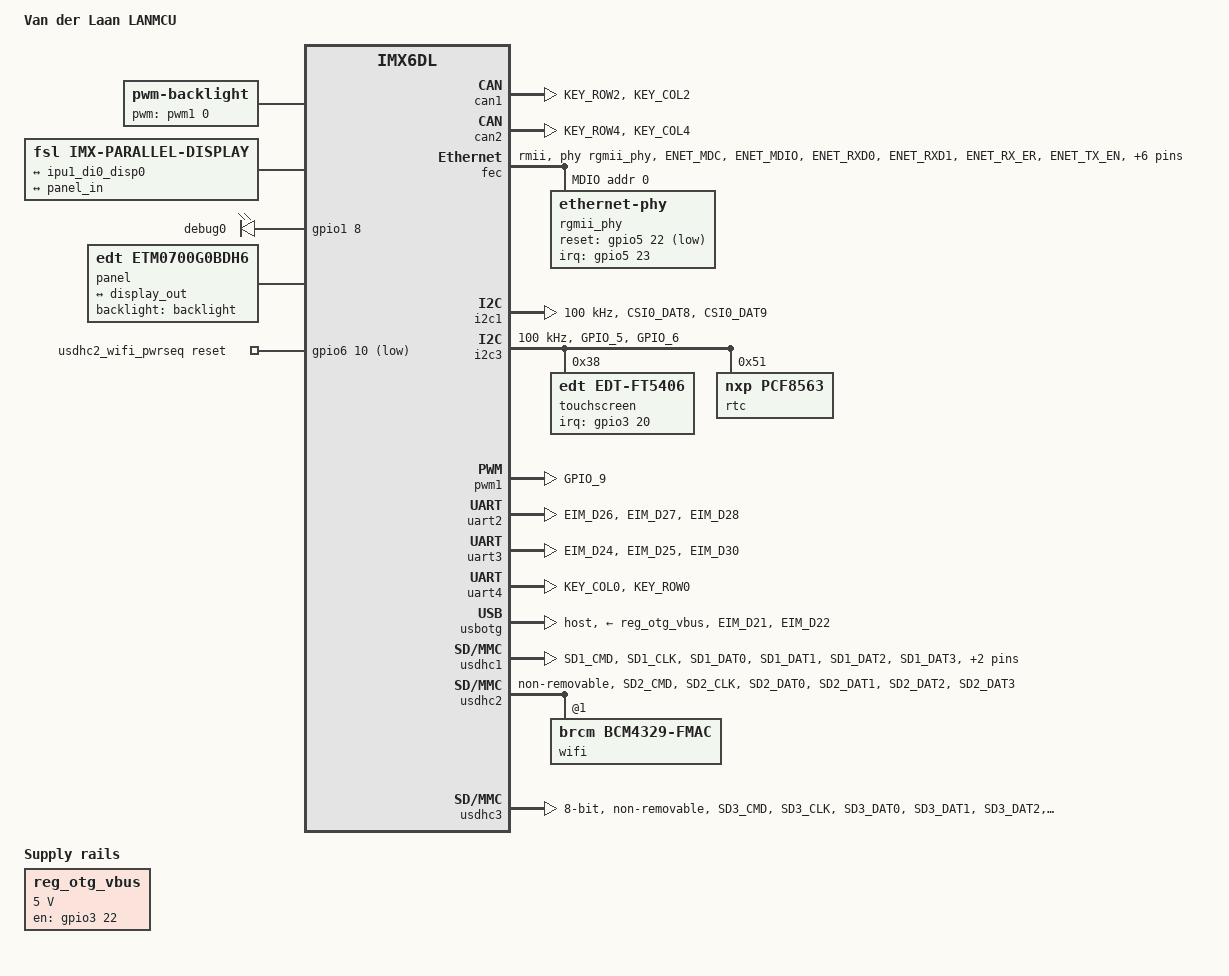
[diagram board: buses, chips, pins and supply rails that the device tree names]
// SPDX-License-Identifier: GPL-2.0-or-later
/*
 * Copyright (c) 2019 Protonic Holland
 * Copyright (c) 2020 Oleksij Rempel <kernel@pengutronix.de>, Pengutronix
 */

/dts-v1/;
#include <dt-bindings/gpio/gpio.h>
#include <dt-bindings/leds/common.h>
#include "imx6dl.dtsi"

/ {
	model = "Van der Laan LANMCU";
	compatible = "vdl,lanmcu", "fsl,imx6dl";

	chosen {
		stdout-path = &uart4;
	};

	clock_ksz8081: clock-ksz8081 {
		compatible = "fixed-clock";
		#clock-cells = <0>;
		clock-frequency = <50000000>;
		clock-output-names = "enet_ref_pad";
	};

	backlight: backlight {
		compatible = "pwm-backlight";
		pwms = <&pwm1 0 5000000 0>;
		brightness-levels = <0 1000>;
		num-interpolated-steps = <20>;
		default-brightness-level = <19>;
	};

	display {
		compatible = "fsl,imx-parallel-display";
		pinctrl-0 = <&pinctrl_ipu1_disp>;
		pinctrl-names = "default";
		#address-cells = <1>;
		#size-cells = <0>;

		port@0 {
			reg = <0>;

			display_in: endpoint {
				remote-endpoint = <&ipu1_di0_disp0>;
			};
		};

		port@1 {
			reg = <1>;

			display_out: endpoint {
				remote-endpoint = <&panel_in>;
			};
		};
	};

	leds {
		compatible = "gpio-leds";
		pinctrl-names = "default";
		pinctrl-0 = <&pinctrl_leds>;

		led-0 {
			label = "debug0";
			function = LED_FUNCTION_STATUS;
			gpios = <&gpio1 8 GPIO_ACTIVE_HIGH>;
			linux,default-trigger = "heartbeat";
		};
	};

	panel {
		compatible = "edt,etm0700g0bdh6";
		backlight = <&backlight>;

		port {
			panel_in: endpoint {
				remote-endpoint = <&display_out>;
			};
		};
	};

	reg_otg_vbus: regulator-otg-vbus {
		compatible = "regulator-fixed";
		regulator-name = "otg-vbus";
		regulator-min-microvolt = <5000000>;
		regulator-max-microvolt = <5000000>;
		gpio = <&gpio3 22 GPIO_ACTIVE_HIGH>;
		enable-active-high;
	};

	usdhc2_wifi_pwrseq: usdhc2-wifi-pwrseq {
		compatible = "mmc-pwrseq-simple";
		pinctrl-names = "default";
		pinctrl-0 = <&pinctrl_wifi_npd>;
		reset-gpios = <&gpio6 10 GPIO_ACTIVE_LOW>;
	};

};

&can1 {
	pinctrl-names = "default";
	pinctrl-0 = <&pinctrl_can1>;
	status = "okay";
};

&can2 {
	pinctrl-names = "default";
	pinctrl-0 = <&pinctrl_can2>;
	status = "okay";
};

&clks {
	clocks = <&clock_ksz8081>;
	clock-names = "enet_ref_pad";
	assigned-clocks = <&clks IMX6QDL_CLK_ENET_REF_SEL>;
	assigned-clock-parents = <&clock_ksz8081>;
};

&fec {
	pinctrl-names = "default";
	pinctrl-0 = <&pinctrl_enet>;
	phy-mode = "rmii";
	phy-handle = <&rgmii_phy>;
	status = "okay";

	mdio {
		#address-cells = <1>;
		#size-cells = <0>;

		/* Microchip KSZ8081RNA PHY */
		rgmii_phy: ethernet-phy@0 {
			reg = <0>;
			interrupts-extended = <&gpio5 23 IRQ_TYPE_LEVEL_LOW>;
			reset-gpios = <&gpio5 22 GPIO_ACTIVE_LOW>;
			reset-assert-us = <10000>;
			reset-deassert-us = <300>;
		};
	};
};

&gpio1 {
	gpio-line-names =
		"", "SD1_CD", "", "", "", "", "", "",
		"DEBUG_0", "BL_PWM", "", "", "", "", "", "",
		"", "", "", "", "", "", "", "ENET_LED_GREEN",
		"", "", "", "", "", "", "", "";
};

&gpio3 {
	gpio-line-names =
		"", "", "", "", "", "", "", "",
		"", "", "", "", "", "", "", "",
		"", "", "", "", "TS_INT", "USB_OTG1_OC", "USB_OTG1_PWR", "",
		"", "", "", "", "UART2_CTS", "", "UART3_CTS", "";
};

&gpio5 {
	gpio-line-names =
		"", "", "", "", "", "", "", "",
		"", "", "", "", "", "", "", "",
		"", "", "", "", "", "", "ENET_RST", "ENET_INT",
		"", "", "I2C1_SDA", "I2C1_SCL", "", "", "", "";
};

&gpio6 {
	gpio-line-names =
		"", "", "", "", "", "", "", "",
		"", "", "WLAN_REG_ON", "", "", "", "", "",
		"", "", "", "", "", "", "", "",
		"", "", "", "", "", "", "", "";
};

&gpio7 {
	gpio-line-names =
		"", "", "", "", "", "", "", "",
		"EMMC_RST", "", "", "", "", "", "", "",
		"", "", "", "", "", "", "", "",
		"", "", "", "", "", "", "", "";
};

&i2c1 {
	clock-frequency = <100000>;
	pinctrl-names = "default";
	pinctrl-0 = <&pinctrl_i2c1>;
	status = "okay";

	/* additional i2c devices are added automatically by the boot loader */
};

&i2c3 {
	clock-frequency = <100000>;
	pinctrl-names = "default";
	pinctrl-0 = <&pinctrl_i2c3>;
	status = "okay";

	touchscreen@38 {
		compatible = "edt,edt-ft5406";
		reg = <0x38>;
		pinctrl-names = "default";
		pinctrl-0 = <&pinctrl_ts_edt>;
		interrupts-extended = <&gpio3 20 IRQ_TYPE_EDGE_FALLING>;

		touchscreen-size-x = <1792>;
		touchscreen-size-y = <1024>;

		touchscreen-fuzz-x = <0>;
		touchscreen-fuzz-y = <0>;

		/* Touch screen calibration */
		threshold = <50>;
		gain = <5>;
		offset = <10>;
	};

	rtc@51 {
		compatible = "nxp,pcf8563";
		reg = <0x51>;
	};
};

&ipu1_di0_disp0 {
	remote-endpoint = <&display_in>;
};

&pwm1 {
	pinctrl-names = "default";
	pinctrl-0 = <&pinctrl_pwm1>;
	status = "okay";
};

&uart2 {
	pinctrl-names = "default";
	pinctrl-0 = <&pinctrl_uart2>;
	linux,rs485-enabled-at-boot-time;
	uart-has-rtscts;
	status = "okay";
};

&uart3 {
	pinctrl-names = "default";
	pinctrl-0 = <&pinctrl_uart3>;
	linux,rs485-enabled-at-boot-time;
	uart-has-rtscts;
	status = "okay";
};

&uart4 {
	pinctrl-names = "default";
	pinctrl-0 = <&pinctrl_uart4>;
	status = "okay";
};

&usbotg {
	vbus-supply = <&reg_otg_vbus>;
	pinctrl-names = "default";
	pinctrl-0 = <&pinctrl_usbotg>;
	phy_type = "utmi";
	dr_mode = "host";
	status = "okay";
};

&usdhc1 {
	pinctrl-names = "default";
	pinctrl-0 = <&pinctrl_usdhc1>;
	cd-gpios = <&gpio1 1 GPIO_ACTIVE_LOW>;
	no-1-8-v;
	disable-wp;
	cap-sd-highspeed;
	no-mmc;
	no-sdio;
	status = "okay";
};

&usdhc2 {
	pinctrl-names = "default";
	pinctrl-0 = <&pinctrl_usdhc2>;
	no-1-8-v;
	non-removable;
	mmc-pwrseq = <&usdhc2_wifi_pwrseq>;
	#address-cells = <1>;
	#size-cells = <0>;
	status = "okay";

	wifi@1 {
		reg = <1>;
		compatible = "brcm,bcm4329-fmac";
	};
};

&usdhc3 {
	pinctrl-names = "default";
	pinctrl-0 = <&pinctrl_usdhc3>;
	bus-width = <8>;
	no-1-8-v;
	non-removable;
	no-sd;
	no-sdio;
	status = "okay";
};

&iomuxc {
	pinctrl_can1: can1grp {
		fsl,pins = <
			MX6QDL_PAD_KEY_ROW2__FLEXCAN1_RX		0x1b000
			MX6QDL_PAD_KEY_COL2__FLEXCAN1_TX		0x3008
		>;
	};

	pinctrl_can2: can2grp {
		fsl,pins = <
			MX6QDL_PAD_KEY_ROW4__FLEXCAN2_RX		0x1b000
			MX6QDL_PAD_KEY_COL4__FLEXCAN2_TX		0x3008
		>;
	};

	pinctrl_enet: enetgrp {
		fsl,pins = <
			/* MX6QDL_ENET_PINGRP4 */
			MX6QDL_PAD_ENET_MDC__ENET_MDC			0x1b0b0
			MX6QDL_PAD_ENET_MDIO__ENET_MDIO			0x1b0b0
			MX6QDL_PAD_ENET_RXD0__ENET_RX_DATA0		0x1b0b0
			MX6QDL_PAD_ENET_RXD1__ENET_RX_DATA1		0x1b0b0
			MX6QDL_PAD_ENET_RX_ER__ENET_RX_ER		0x1b0b0
			MX6QDL_PAD_ENET_TX_EN__ENET_TX_EN		0x1b0b0
			MX6QDL_PAD_ENET_TXD0__ENET_TX_DATA0		0x1b0b0
			MX6QDL_PAD_ENET_TXD1__ENET_TX_DATA1		0x1b0b0
			MX6QDL_PAD_ENET_CRS_DV__ENET_RX_EN		0x1b0b0

			MX6QDL_PAD_GPIO_16__ENET_REF_CLK		0x1b0b0
			/* Phy reset */
			MX6QDL_PAD_CSI0_DAT4__GPIO5_IO22		0x1b0b0
			/* nINTRP */
			MX6QDL_PAD_CSI0_DAT5__GPIO5_IO23		0x1b0b0
		>;
	};

	pinctrl_i2c1: i2c1grp {
		fsl,pins = <
			MX6QDL_PAD_CSI0_DAT8__I2C1_SDA			0x4001f8b1
			MX6QDL_PAD_CSI0_DAT9__I2C1_SCL			0x4001f8b1
		>;
	};

	pinctrl_i2c3: i2c3grp {
		fsl,pins = <
			MX6QDL_PAD_GPIO_5__I2C3_SCL			0x4001b8b1
			MX6QDL_PAD_GPIO_6__I2C3_SDA			0x4001b8b1
		>;
	};

	pinctrl_ipu1_disp: ipudisp1grp {
		fsl,pins = <
			/* DSE 0x30 => 25 Ohm, 0x20 => 37 Ohm, 0x10 => 75 Ohm */
			MX6QDL_PAD_DI0_DISP_CLK__IPU1_DI0_DISP_CLK	0x30
			MX6QDL_PAD_DI0_PIN2__IPU1_DI0_PIN02		0x30
			MX6QDL_PAD_DI0_PIN3__IPU1_DI0_PIN03		0x30
			MX6QDL_PAD_DI0_PIN15__IPU1_DI0_PIN15		0x30
			MX6QDL_PAD_DISP0_DAT0__IPU1_DISP0_DATA00	0x30
			MX6QDL_PAD_DISP0_DAT1__IPU1_DISP0_DATA01	0x30
			MX6QDL_PAD_DISP0_DAT2__IPU1_DISP0_DATA02	0x30
			MX6QDL_PAD_DISP0_DAT3__IPU1_DISP0_DATA03	0x30
			MX6QDL_PAD_DISP0_DAT4__IPU1_DISP0_DATA04	0x30
			MX6QDL_PAD_DISP0_DAT5__IPU1_DISP0_DATA05	0x30
			MX6QDL_PAD_DISP0_DAT6__IPU1_DISP0_DATA06	0x30
			MX6QDL_PAD_DISP0_DAT7__IPU1_DISP0_DATA07	0x30
			MX6QDL_PAD_DISP0_DAT8__IPU1_DISP0_DATA08	0x30
			MX6QDL_PAD_DISP0_DAT9__IPU1_DISP0_DATA09	0x30
			MX6QDL_PAD_DISP0_DAT10__IPU1_DISP0_DATA10	0x30
			MX6QDL_PAD_DISP0_DAT11__IPU1_DISP0_DATA11	0x30
			MX6QDL_PAD_DISP0_DAT12__IPU1_DISP0_DATA12	0x30
			MX6QDL_PAD_DISP0_DAT13__IPU1_DISP0_DATA13	0x30
			MX6QDL_PAD_DISP0_DAT14__IPU1_DISP0_DATA14	0x30
			MX6QDL_PAD_DISP0_DAT15__IPU1_DISP0_DATA15	0x30
			MX6QDL_PAD_DISP0_DAT16__IPU1_DISP0_DATA16	0x30
			MX6QDL_PAD_DISP0_DAT17__IPU1_DISP0_DATA17	0x30
		>;
	};

	pinctrl_leds: ledsgrp {
		fsl,pins = <
			MX6QDL_PAD_GPIO_8__GPIO1_IO08			0x1b0b0
		>;
	};

	pinctrl_pwm1: pwm1grp {
		fsl,pins = <
			MX6QDL_PAD_GPIO_9__PWM1_OUT			0x8
		>;
	};

	pinctrl_ts_edt: ts1grp {
		fsl,pins = <
			MX6QDL_PAD_EIM_D20__GPIO3_IO20			0x1b0b0
		>;
	};

	pinctrl_uart2: uart2grp {
		fsl,pins = <
			MX6QDL_PAD_EIM_D26__UART2_RX_DATA		0x1b0b1
			MX6QDL_PAD_EIM_D27__UART2_TX_DATA		0x1b0b1
			MX6QDL_PAD_EIM_D28__UART2_CTS_B			0x130b1
		>;
	};

	pinctrl_uart3: uart3grp {
		fsl,pins = <
			MX6QDL_PAD_EIM_D24__UART3_TX_DATA		0x1b0b1
			MX6QDL_PAD_EIM_D25__UART3_RX_DATA		0x1b0b1
			MX6QDL_PAD_EIM_D30__UART3_CTS_B			0x130b1
		>;
	};

	pinctrl_uart4: uart4grp {
		fsl,pins = <
			MX6QDL_PAD_KEY_COL0__UART4_TX_DATA		0x1b0b1
			MX6QDL_PAD_KEY_ROW0__UART4_RX_DATA		0x1b0b1
		>;
	};

	pinctrl_usbotg: usbotggrp {
		fsl,pins = <
			MX6QDL_PAD_EIM_D21__USB_OTG_OC			0x1b0b0
			/* power enable, high active */
			MX6QDL_PAD_EIM_D22__GPIO3_IO22			0x1b0b0
		>;
	};

	pinctrl_usdhc1: usdhc1grp {
		fsl,pins = <
			MX6QDL_PAD_SD1_CMD__SD1_CMD			0x170f9
			MX6QDL_PAD_SD1_CLK__SD1_CLK			0x100f9
			MX6QDL_PAD_SD1_DAT0__SD1_DATA0			0x170f9
			MX6QDL_PAD_SD1_DAT1__SD1_DATA1			0x170f9
			MX6QDL_PAD_SD1_DAT2__SD1_DATA2			0x170f9
			MX6QDL_PAD_SD1_DAT3__SD1_DATA3			0x170f9
			MX6QDL_PAD_GPIO_1__SD1_CD_B			0x1b0b0
		>;
	};

	pinctrl_usdhc2: usdhc2grp {
		fsl,pins = <
			MX6QDL_PAD_SD2_CMD__SD2_CMD			0x170b9
			MX6QDL_PAD_SD2_CLK__SD2_CLK			0x100b9
			MX6QDL_PAD_SD2_DAT0__SD2_DATA0			0x170b9
			MX6QDL_PAD_SD2_DAT1__SD2_DATA1			0x170b9
			MX6QDL_PAD_SD2_DAT2__SD2_DATA2			0x170b9
			MX6QDL_PAD_SD2_DAT3__SD2_DATA3			0x170b9
		>;
	};

	pinctrl_usdhc3: usdhc3grp {
		fsl,pins = <
			MX6QDL_PAD_SD3_CMD__SD3_CMD			0x17099
			MX6QDL_PAD_SD3_CLK__SD3_CLK			0x10099
			MX6QDL_PAD_SD3_DAT0__SD3_DATA0			0x17099
			MX6QDL_PAD_SD3_DAT1__SD3_DATA1			0x17099
			MX6QDL_PAD_SD3_DAT2__SD3_DATA2			0x17099
			MX6QDL_PAD_SD3_DAT3__SD3_DATA3			0x17099
			MX6QDL_PAD_SD3_DAT4__SD3_DATA4			0x17099
			MX6QDL_PAD_SD3_DAT5__SD3_DATA5			0x17099
			MX6QDL_PAD_SD3_DAT6__SD3_DATA6			0x17099
			MX6QDL_PAD_SD3_DAT7__SD3_DATA7			0x17099
			MX6QDL_PAD_SD3_RST__SD3_RESET			0x1b0b1
		>;
	};

	pinctrl_wifi_npd: wifigrp {
		fsl,pins = <
			/* WL_REG_ON */
			MX6QDL_PAD_NANDF_RB0__GPIO6_IO10		0x13069
		>;
	};
};
